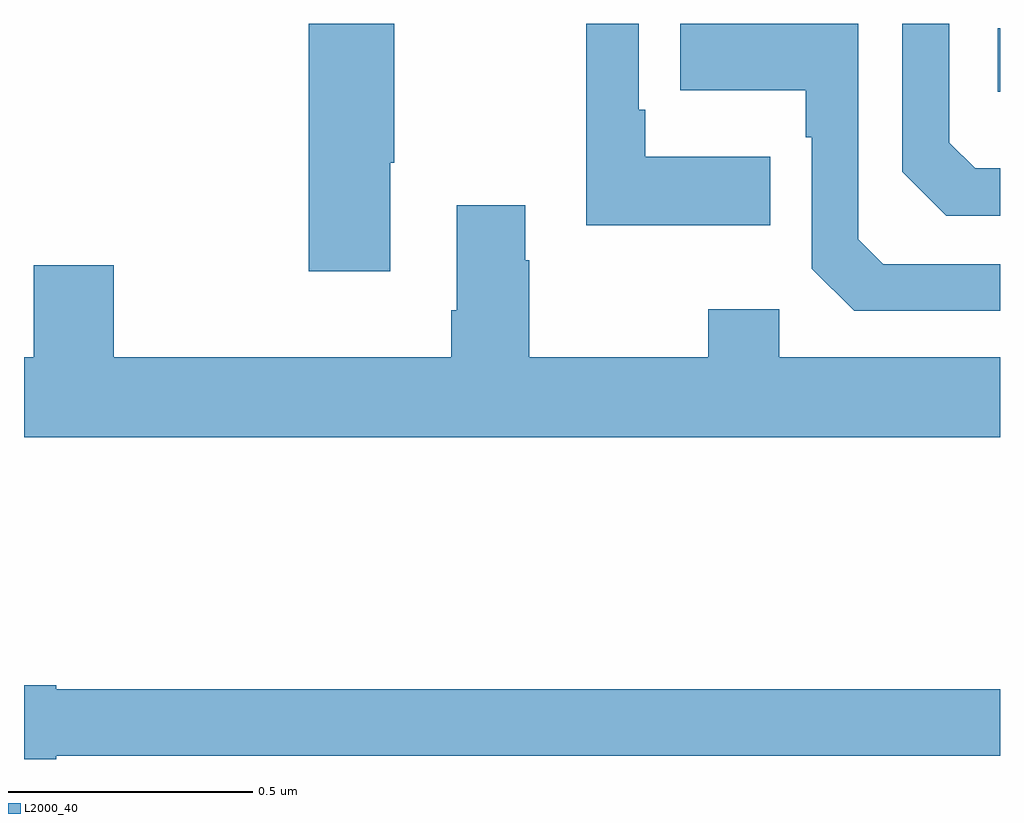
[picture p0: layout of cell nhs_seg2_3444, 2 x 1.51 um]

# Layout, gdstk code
import gdstk
lib = gdstk.Library(unit=1e-6, precision=1e-09)
def R(c, l, rs):  # rectangles x0, y0, x1, y1
    for r in rs: c.add(gdstk.rectangle(r[:2], r[2:], *l))
def P(c, l, *ps):  # polygons
    for p in ps: c.add(gdstk.Polygon(p, *l))
L2000_40 = (2000, 40)

nhs_seg2_3444 = lib.new_cell('nhs_seg2_3444')
R(nhs_seg2_3444, L2000_40, [(154.995,665.66,155,665.79)])
P(nhs_seg2_3444, L2000_40, [(154.529,665.527),(154.273,665.527),(154.273,665.623),(154.26,665.623),(154.26,665.8),(154.152,665.8),(154.152,665.387),(154.529,665.387)],
  [(155,665.503),(154.949,665.503),(154.896,665.556),(154.896,665.8),(154.8,665.8),(154.8,665.496),(154.89,665.406),(155,665.406)],
  [(155,665.307),(154.761,665.307),(154.71,665.358),(154.71,665.8),(154.345,665.8),(154.345,665.663),(154.602,665.663),(154.602,665.567),(154.614,665.567),(154.614,665.298),(154.701,665.211),(155,665.211)],
  [(153.751,665.515),(153.759,665.515),(153.759,665.8),(153.584,665.8),(153.584,665.292),(153.751,665.292)],
  [(155,665.116),(154.548,665.116),(154.548,665.215),(154.402,665.215),(154.402,665.116),(154.035,665.116),(154.035,665.315),(154.027,665.315),(154.027,665.428),(153.887,665.428),(153.887,665.212),(153.875,665.212),(153.875,665.116),(153.184,665.116),(153.184,665.305),(153.02,665.305),(153.02,665.116),(153,665.116),(153,664.952),(155,664.952)],
  [(153.066,664.3),(155,664.3),(155,664.436),(153.066,664.436),(153.066,664.444),(153,664.444),(153,664.292),(153.066,664.292)])

lib.write_gds('nhs_seg2_3444.gds')
